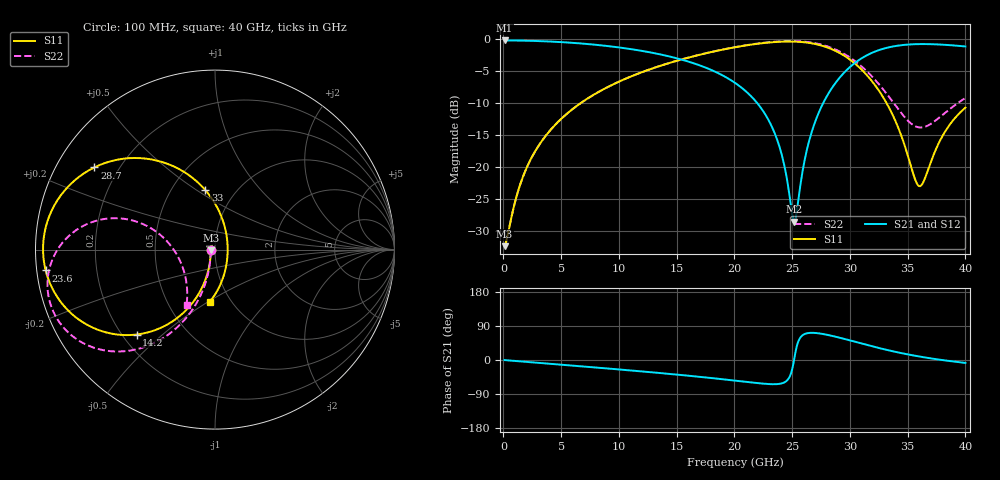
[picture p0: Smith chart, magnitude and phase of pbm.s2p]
! E_s8_L1L3_p800_round_g2: reduced via model, differential mode (per line 50 ohm)
# Hz S RI R 50
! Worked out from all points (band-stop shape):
!   400 points, 100 MHz to 40 GHz, reference 50 ohm
!   highest |S21| = -0.21 dB at 100 MHz (marker M1); lowest = -28.6 dB at 25.2 GHz (marker M2)
!   |S21| within 3 dB of the highest: start of sweep to 15.43 GHz; 30.83 GHz to end of sweep
!   lowest |S11| = -32.4 dB at 100 MHz (marker M3), VSWR 1.05, Z = 47.7 - j0.444 ohm
!   |S11| at or under -10 dB: start of sweep to 6.695 GHz; 33.17 GHz to end of sweep
!   |S22| runs from -32.4 to -0.3 dB; largest |S21 - S12| = 0
!   S11 on the Smith chart (normalised r, x): 100 MHz: 0.95, -0.01; 14.2 GHz: 0.26, -0.41; 23.6 GHz: 0.03, -0.06; 28.7 GHz: 0.11, +0.30; 33 GHz: 0.73, +0.54; 40 GHz: 0.80, -0.51
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1e8  -0.0236 -0.00466  0.9764 -0.00418  0.9764 -0.00418  -0.0236 -0.00468
1.3e9  -0.0273 -0.0604  0.973 -0.0543  0.973 -0.0543  -0.0266 -0.0607
2.5e9  -0.0375 -0.1154  0.9638 -0.1037  0.9638 -0.1037  -0.0348 -0.1162
4.3e9  -0.0645 -0.1949  0.9391 -0.1754  0.9391 -0.1754  -0.0568 -0.1973
6.8e9  -0.1246 -0.2959  0.8842 -0.2668  0.8842 -0.2668  -0.1058 -0.3031
1.34e10  -0.3948 -0.4662  0.635 -0.4276  0.635 -0.4276  -0.3288 -0.5153
1.42e10  -0.4369 -0.4732  0.5957 -0.4357  0.5957 -0.4357  -0.3643 -0.5316
2.01e10  -0.7812 -0.3726  0.2619 -0.3681  0.2619 -0.3681  -0.6739 -0.5469
2.22e10  -0.8926 -0.2418  0.1416 -0.2618  0.1416 -0.2618  -0.7939 -0.4822
2.36e10  -0.9433 -0.1161  0.0764 -0.1552  0.0764 -0.1552  -0.8655 -0.4067
2.43e10  -0.9559 -0.0415  0.0531 -0.0902  0.0531 -0.0902  -0.895 -0.3577
2.52e10  -0.9542 0.0642  0.037 0.00409  0.037 0.00409  -0.9224 -0.2837
2.6e10  -0.9314 0.164  0.04 0.0959  0.04 0.0959  -0.9332 -0.2087
2.67e10  -0.8919 0.2519  0.0591 0.1794  0.0591 0.1794  -0.9291 -0.1379
2.76e10  -0.8121 0.3573  0.1094 0.2845  0.1094 0.2845  -0.9015 -0.045
2.87e10  -0.6723 0.4579  0.2108 0.3951  0.2108 0.3951  -0.8312 0.0593
3.07e10  -0.3535 0.5022  0.4709 0.4884  0.4709 0.4884  -0.6227 0.1696
3.3e10  -0.0544 0.3322  0.7472 0.3981  0.7472 0.3981  -0.371 0.1273
3.34e10  -0.0207 0.289  0.782 0.3679  0.782 0.3679  -0.336 0.1058
3.6e10  0.0706 0.0044  0.9027 0.1476  0.9027 0.1476  -0.1918 -0.0692
3.81e10  0.0376 -0.1762  0.9042 -0.00852  0.9042 -0.00852  -0.1566 -0.2062
4e10  -0.0281 -0.2896  0.8685 -0.1172  0.8685 -0.1172  -0.1583 -0.308
